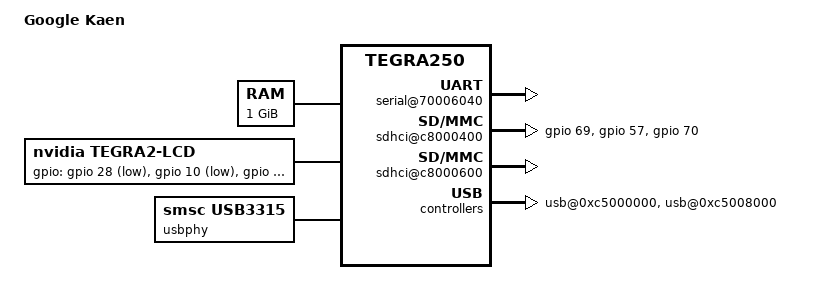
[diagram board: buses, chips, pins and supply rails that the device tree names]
/dts-v1/;

/memreserve/ 0x1c000000 0x04000000;
/include/ "../../../arch/arm/cpu/armv7/tegra2/tegra250.dtsi"

/ {
	model = "Google Kaen";
	compatible = "google,kaen", "nvidia,tegra250";

	config {
		silent_console = <0>;
		odmdata = <0x300d8011>;
		hwid = "ARM KAEN TEST 3084";
	};

	aliases {
		console = "/serial@70006040";
                usb0 = "/usb@0xc5008000";
                usb1 = "/usb@0xc5000000";
	};

	chosen {
		bootargs = "";
	};

	memory {
		device_type = "memory";
		reg = <0x00000000 0x40000000>;
	};

	serial@70006040 {
		status = "ok";
		clock-frequency = <216000000>;
	};

	sdhci@c8000400 {
		status = "ok";
		removable = <1>;
		gpios = <&gpio 69 0>, /* cd, gpio PI5 */
			<&gpio 57 0>, /* wp, gpio PH1 */
			<&gpio 70 0>; /* power, gpio PI6 */
	};

	sdhci@c8000600 {
		status = "ok";
		removable = <0>;
	};

	lcd {
		compatible = "nvidia,tegra2-lcd";
		width = <1366>;
		height = <768>;
		bits_per_pixel = <16>;
		pwfm = <&pwfm2>;
		display = <&display1>;
		frame-buffer = <0x1C022000>;

		pixel_clock = <62200000>;

		/* Timing: ref_to_sync, sync_width. back_porch, front_porch */
		horiz_timing = <11 58 58 58>;
		vert_timing = <1 4 4 4>;

		/* For these the third parameter is 0=low, 1=high */
		gpios = <&gpio 28 1>,	/* backlight PD4 */
			<&gpio 10 1>,	/* lvds shutdown PB2 */
			<&gpio 176 1>,	/* backlight vdd PW0 */
			<&gpio 22 1>;	/* enable vdd pnl PC6 */
	};

	usb@0xc5000000 {
		status = "ok";
		host-mode = <1>;
	};

	usbphy: usbphy@0 {
		compatible = "smsc,usb3315";
		status = "ok";
	};

	usb@0xc5008000 {
		status = "ok";
		utmi = <&usbphy>;
		host-mode = <0>;
	};
};
